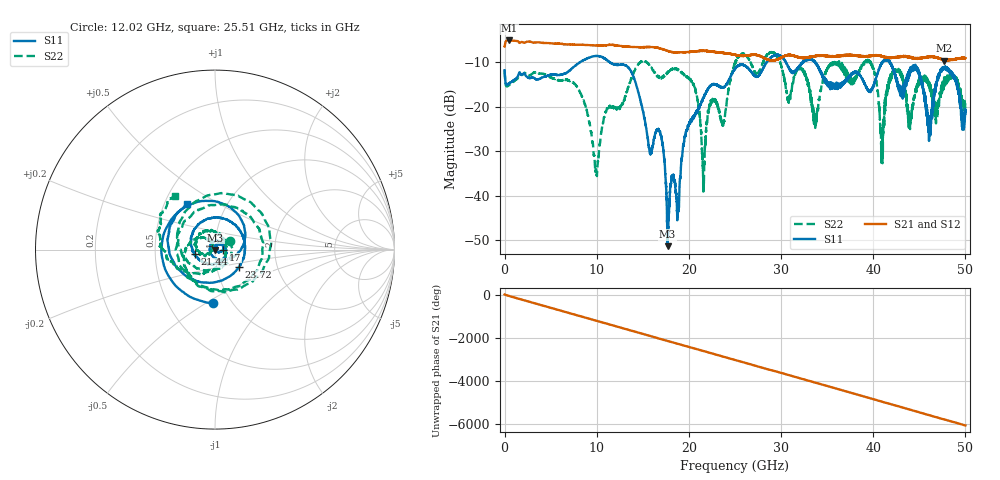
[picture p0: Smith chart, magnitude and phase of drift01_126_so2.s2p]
!Created with skrf (http://scikit-rf.org).
# Hz S RI R 50.0
!freq ReS11 ImS11 ReS21 ImS21 ReS12 ImS12 ReS22 ImS22
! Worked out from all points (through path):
!   10001 points, 300 kHz to 50 GHz, reference 50 ohm
!   highest |S21| = -5.05 dB at 520.3 MHz (marker M1); lowest = -9.6 dB at 47.67 GHz (marker M2)
!   group delay of S21, straight-line fit = 336 ps
!   lowest |S11| = -51.4 dB at 17.69 GHz (marker M3), VSWR 1.01, Z = 50.2 - j0.142 ohm
!   |S11| at or under -10 dB: start of sweep to 8.165 GHz; 11.43 GHz to 28.42 GHz (16.99 GHz wide, 85.3 % of centre); 41.81 GHz to end of sweep (the widest 3 of 8)
!   |S22| runs from -39.1 to -7.6 dB; largest |S21 - S12| = 0.016
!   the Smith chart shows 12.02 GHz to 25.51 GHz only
!   S11 on the Smith chart (normalised r, x): 12.02 GHz: 0.82, -0.54; 17 GHz: 1.10, -0.00; 21.44 GHz: 0.80, -0.04; 23.72 GHz: 1.28, -0.26; 25.51 GHz: 0.65, +0.36
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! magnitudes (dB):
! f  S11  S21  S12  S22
! 300 kHz  -11.8  -6.5  -6.5  -11.8
! 520.3 MHz  -14.7  -5.1  -5.1  -15.0
! 8.335 GHz  -9.8  -6.0  -6.0  -17.4
! 9.94 GHz  -8.5  -6.2  -6.2  -34.4
! 12.02 GHz  -10.5  -6.1  -6.1  -20.5
! 16.67 GHz  -25.0  -6.7  -6.7  -13.3
! 17 GHz  -26.8  -6.9  -6.9  -13.6
! 17.69 GHz  -51.4  -7.4  -7.4  -12.3
! 20.5 GHz  -22.4  -7.6  -7.5  -15.0
! 21.44 GHz  -18.7  -7.4  -7.4  -30.3
! 22.46 GHz  -15.0  -7.5  -7.6  -19.0
! 23.72 GHz  -15.7  -7.9  -7.9  -24.1
! 25 GHz  -11.4  -8.3  -8.3  -10.3
! 25.51 GHz  -10.5  -8.5  -8.5  -8.6
! 33.34 GHz  -9.4  -8.7  -8.7  -19.6
! 39.49 GHz  -16.3  -8.5  -8.6  -9.9
! 40.95 GHz  -10.1  -8.6  -8.5  -28.4
! 41.67 GHz  -9.6  -8.8  -9.0  -14.7
! 44.76 GHz  -11.4  -9.1  -9.0  -15.4
! 46.11 GHz  -24.0  -8.7  -8.7  -15.3
! 47.67 GHz  -11.3  -9.6  -9.5  -15.0
! 50 GHz  -21.6  -9.1  -9.1  -20.2
